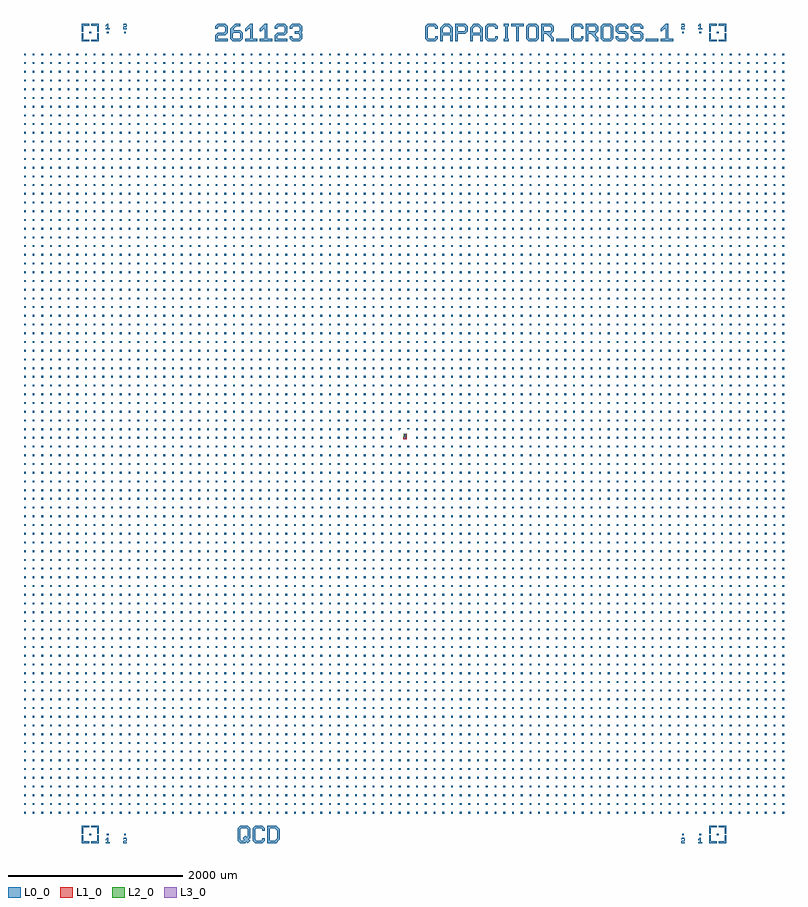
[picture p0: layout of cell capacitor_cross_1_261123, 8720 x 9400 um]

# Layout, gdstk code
import gdstk
lib = gdstk.Library(unit=1e-6, precision=1e-09)
def R(c, l, rs):  # rectangles x0, y0, x1, y1
    for r in rs: c.add(gdstk.rectangle(r[:2], r[2:], *l))
def A(c, l, x, y, w, h, nx, ny, dx, dy):  # array of equal rectangles
    R(c, l, [(x+i*dx, y+j*dy, x+i*dx+w, y+j*dy+h) for i in range(nx) for j in range(ny)])
def P(c, l, *ps):  # polygons
    for p in ps: c.add(gdstk.Polygon(p, *l))
L0_0 = (0, 0)
L1_0 = (1, 0)
L2_0 = (2, 0)
L3_0 = (3, 0)

capacitor_cross_1_261123 = lib.new_cell('capacitor_cross_1_261123')
A(capacitor_cross_1_261123, L0_0, -3610, -4610, 20, 20, 3, 2, 200, 9200)
A(capacitor_cross_1_261123, L0_0, 3190, -4610, 20, 20, 3, 2, 200, 9200)
A(capacitor_cross_1_261123, L0_0, -4360, -4360, 20, 20, 88, 43, 100, 100)
A(capacitor_cross_1_261123, L0_0, -4360, -60, 20, 20, 43, 2, 100, 100)
A(capacitor_cross_1_261123, L0_0, 140, -60, 20, 20, 43, 2, 100, 100)
A(capacitor_cross_1_261123, L0_0, -4360, 140, 20, 20, 88, 43, 100, 100)
R(capacitor_cross_1_261123, L0_0, [(40,50,60,60), (1745.238,4500,1888.095,4528.571), (2773.808,4500,2916.665,4528.571)])
P(capacitor_cross_1_261123, L0_0, [(2088.095,4500),(2088.095,4700),(2202.381,4700),(2230.952,4671.428),(2116.666,4671.428),(2116.666,4614.286),(2188.095,4614.286),(2202.381,4628.571),(2202.381,4657.143),(2188.095,4671.428),(2230.952,4671.428),(2230.952,4614.286),(2202.381,4585.714),(2202.381,4571.429),(2230.952,4542.857),(2230.952,4500),(2202.381,4500),(2202.381,4528.571),(2145.238,4585.714),(2116.666,4585.714),(2116.666,4500)],
  [(3610,4500),(3610,4520),(3680,4520),(3680,4590),(3700,4590),(3700,4500)],
  [(3680,4610),(3680,4680),(3610,4680),(3610,4700),(3700,4700),(3700,4610)],
  [(3500,4610),(3500,4700),(3590,4700),(3590,4680),(3520,4680),(3520,4610)],
  [(3500,4500),(3500,4590),(3520,4590),(3520,4520),(3590,4520),(3590,4500)],
  [(3378.572,4640),(3378.572,4648.571),(3395.715,4648.571),(3395.715,4682.857),(3391.429,4682.857),(3382.858,4674.286),(3378.572,4674.286),(3378.572,4682.857),(3395.715,4700),(3404.286,4700),(3404.286,4648.571),(3421.429,4648.571),(3421.429,4640)],
  [(2630.951,4500),(2602.38,4528.571),(2602.38,4557.143),(2630.951,4557.143),(2630.951,4542.857),(2645.237,4528.571),(2702.38,4528.571),(2716.666,4542.857),(2716.666,4571.429),(2702.38,4585.714),(2630.951,4585.714),(2602.38,4614.286),(2602.38,4671.428),(2630.951,4700),(2716.666,4700),(2745.237,4671.428),(2745.237,4642.857),(2716.666,4642.857),(2716.666,4657.143),(2702.38,4671.428),(2645.237,4671.428),(2630.951,4657.143),(2630.951,4628.571),(2645.237,4614.286),(2716.666,4614.286),(2745.237,4585.714),(2745.237,4528.571),(2716.666,4500)],
  [(2945.237,4500),(2945.237,4528.571),(3002.38,4528.571),(3002.38,4642.857),(2988.094,4642.857),(2959.523,4614.286),(2945.237,4614.286),(2945.237,4642.857),(3002.38,4700),(3030.951,4700),(3030.951,4528.571),(3088.094,4528.571),(3088.094,4500)],
  [(3178.572,4640),(3178.572,4661.429),(3187.143,4670),(3208.572,4670),(3212.858,4674.286),(3212.858,4687.143),(3208.572,4691.429),(3191.429,4691.429),(3187.143,4687.143),(3187.143,4682.857),(3178.572,4682.857),(3178.572,4691.429),(3187.143,4700),(3212.858,4700),(3221.429,4691.429),(3221.429,4670),(3212.858,4661.429),(3191.429,4661.429),(3187.143,4657.143),(3187.143,4648.571),(3221.429,4648.571),(3221.429,4640)],
  [(2288.094,4500),(2259.523,4528.571),(2259.523,4671.428),(2288.094,4700),(2373.809,4700),(2402.38,4671.428),(2402.38,4600),(2373.809,4600),(2373.809,4657.143),(2359.523,4671.428),(2302.38,4671.428),(2288.094,4657.143),(2288.094,4542.857),(2302.38,4528.571),(2359.523,4528.571),(2373.809,4542.857),(2373.809,4600),(2402.38,4600),(2402.38,4528.571),(2373.809,4500)],
  [(2459.523,4500),(2430.952,4528.571),(2430.952,4557.143),(2459.523,4557.143),(2459.523,4542.857),(2473.809,4528.571),(2530.952,4528.571),(2545.238,4542.857),(2545.238,4571.429),(2530.952,4585.714),(2459.523,4585.714),(2430.952,4614.286),(2430.952,4671.428),(2459.523,4700),(2545.238,4700),(2573.809,4671.428),(2573.809,4642.857),(2545.238,4642.857),(2545.238,4657.143),(2530.952,4671.428),(2473.809,4671.428),(2459.523,4657.143),(2459.523,4628.571),(2473.809,4614.286),(2545.238,4614.286),(2573.809,4585.714),(2573.809,4528.571),(2545.238,4500)],
  [(1573.81,4500),(1573.81,4700),(1688.096,4700),(1716.667,4671.428),(1602.381,4671.428),(1602.381,4614.286),(1673.81,4614.286),(1688.096,4628.571),(1688.096,4657.143),(1673.81,4671.428),(1716.667,4671.428),(1716.667,4614.286),(1688.096,4585.714),(1688.096,4571.429),(1716.667,4542.857),(1716.667,4500),(1688.096,4500),(1688.096,4528.571),(1630.953,4585.714),(1602.381,4585.714),(1602.381,4500)],
  [(1945.237,4500),(1916.666,4528.571),(1916.666,4671.428),(1945.237,4700),(2030.952,4700),(2059.523,4671.428),(2059.523,4642.857),(2030.952,4642.857),(2030.952,4657.143),(2016.666,4671.428),(1959.523,4671.428),(1945.237,4657.143),(1945.237,4542.857),(1959.523,4528.571),(2016.666,4528.571),(2030.952,4542.857),(2030.952,4557.143),(2059.523,4557.143),(2059.523,4528.571),(2030.952,4500)],
  [(1145.238,4500),(1145.238,4528.571),(1159.524,4528.571),(1159.524,4671.428),(1145.238,4671.428),(1145.238,4700),(1202.381,4700),(1202.381,4671.428),(1188.095,4671.428),(1188.095,4528.571),(1202.381,4528.571),(1202.381,4500)],
  [(1288.096,4500),(1288.096,4671.428),(1230.953,4671.428),(1230.953,4700),(1373.81,4700),(1373.81,4671.428),(1316.667,4671.428),(1316.667,4500)],
  [(1430.952,4500),(1402.381,4528.571),(1402.381,4671.428),(1430.952,4700),(1516.667,4700),(1545.238,4671.428),(1545.238,4600),(1516.667,4600),(1516.667,4657.143),(1502.381,4671.428),(1445.238,4671.428),(1430.952,4657.143),(1430.952,4542.857),(1445.238,4528.571),(1502.381,4528.571),(1516.667,4542.857),(1516.667,4600),(1545.238,4600),(1545.238,4528.571),(1516.667,4500)],
  [(416.668,4500),(416.668,4657.143),(459.525,4700),(516.668,4700),(545.239,4671.428),(473.811,4671.428),(445.239,4642.857),(445.239,4600),(530.954,4600),(530.954,4642.857),(502.382,4671.428),(545.239,4671.428),(559.525,4657.143),(559.525,4500),(530.954,4500),(530.954,4571.429),(445.239,4571.429),(445.239,4500)],
  [(959.524,4500),(930.953,4528.571),(930.953,4671.428),(959.524,4700),(1045.239,4700),(1073.81,4671.428),(1073.81,4642.857),(1045.239,4642.857),(1045.239,4657.143),(1030.953,4671.428),(973.81,4671.428),(959.524,4657.143),(959.524,4542.857),(973.81,4528.571),(1030.953,4528.571),(1045.239,4542.857),(1045.239,4557.143),(1073.81,4557.143),(1073.81,4528.571),(1045.239,4500)],
  [(588.096,4500),(588.096,4700),(702.382,4700),(730.953,4671.428),(730.953,4614.286),(702.382,4585.714),(616.667,4585.714),(616.667,4614.286),(688.096,4614.286),(702.382,4628.571),(702.382,4657.143),(688.096,4671.428),(616.667,4671.428),(616.667,4500)],
  [(759.525,4500),(759.525,4657.143),(802.382,4700),(859.525,4700),(888.096,4671.428),(816.668,4671.428),(788.096,4642.857),(788.096,4600),(873.811,4600),(873.811,4642.857),(845.239,4671.428),(888.096,4671.428),(902.382,4657.143),(902.382,4500),(873.811,4500),(873.811,4571.429),(788.096,4571.429),(788.096,4500)],
  [(273.81,4500),(245.239,4528.571),(245.239,4671.428),(273.81,4700),(359.525,4700),(388.096,4671.428),(388.096,4642.857),(359.525,4642.857),(359.525,4657.143),(345.239,4671.428),(288.096,4671.428),(273.81,4657.143),(273.81,4542.857),(288.096,4528.571),(345.239,4528.571),(359.525,4542.857),(359.525,4557.143),(388.096,4557.143),(388.096,4528.571),(359.525,4500)],
  [(-1652.381,4500),(-1652.381,4528.571),(-1595.238,4528.571),(-1595.238,4642.857),(-1609.524,4642.857),(-1638.095,4614.286),(-1652.381,4614.286),(-1652.381,4642.857),(-1595.238,4700),(-1566.667,4700),(-1566.667,4528.571),(-1509.524,4528.571),(-1509.524,4500)],
  [(-1480.953,4500),(-1480.953,4571.429),(-1452.382,4600),(-1380.953,4600),(-1366.667,4614.286),(-1366.667,4657.143),(-1380.953,4671.428),(-1438.096,4671.428),(-1452.382,4657.143),(-1452.382,4642.857),(-1480.953,4642.857),(-1480.953,4671.428),(-1452.382,4700),(-1366.667,4700),(-1338.096,4671.428),(-1338.096,4600),(-1366.667,4571.429),(-1438.096,4571.429),(-1452.382,4557.143),(-1452.382,4528.571),(-1338.096,4528.571),(-1338.096,4500)],
  [(-1280.953,4500),(-1309.524,4528.571),(-1309.524,4557.143),(-1280.953,4557.143),(-1280.953,4542.857),(-1266.667,4528.571),(-1209.524,4528.571),(-1195.238,4542.857),(-1195.238,4571.429),(-1209.524,4585.714),(-1252.381,4585.714),(-1252.381,4614.286),(-1209.524,4614.286),(-1195.238,4628.571),(-1195.238,4657.143),(-1209.524,4671.428),(-1266.667,4671.428),(-1280.953,4657.143),(-1280.953,4642.857),(-1309.524,4642.857),(-1309.524,4671.428),(-1280.953,4700),(-1195.238,4700),(-1166.667,4671.428),(-1166.667,4614.286),(-1180.953,4600),(-1166.667,4585.714),(-1166.667,4528.571),(-1195.238,4500)],
  [(-2166.666,4500),(-2166.666,4571.429),(-2138.095,4600),(-2066.666,4600),(-2052.38,4614.286),(-2052.38,4657.143),(-2066.666,4671.428),(-2123.809,4671.428),(-2138.095,4657.143),(-2138.095,4642.857),(-2166.666,4642.857),(-2166.666,4671.428),(-2138.095,4700),(-2052.38,4700),(-2023.809,4671.428),(-2023.809,4600),(-2052.38,4571.429),(-2123.809,4571.429),(-2138.095,4557.143),(-2138.095,4528.571),(-2023.809,4528.571),(-2023.809,4500)],
  [(-1966.667,4500),(-1995.238,4528.571),(-1995.238,4642.857),(-1938.095,4700),(-1880.952,4700),(-1880.952,4671.428),(-1923.809,4671.428),(-1952.381,4642.857),(-1952.381,4628.571),(-1880.952,4628.571),(-1852.381,4600),(-1952.381,4600),(-1966.667,4585.714),(-1966.667,4542.857),(-1952.381,4528.571),(-1895.238,4528.571),(-1880.952,4542.857),(-1880.952,4585.714),(-1895.238,4600),(-1852.381,4600),(-1852.381,4528.571),(-1880.952,4500)],
  [(-1823.809,4500),(-1823.809,4528.571),(-1766.666,4528.571),(-1766.666,4642.857),(-1780.952,4642.857),(-1809.523,4614.286),(-1823.809,4614.286),(-1823.809,4642.857),(-1766.666,4700),(-1738.095,4700),(-1738.095,4528.571),(-1680.952,4528.571),(-1680.952,4500)],
  [(-3221.429,4640),(-3221.429,4661.429),(-3212.858,4670),(-3191.429,4670),(-3187.143,4674.286),(-3187.143,4687.143),(-3191.429,4691.429),(-3208.572,4691.429),(-3212.858,4687.143),(-3212.858,4682.857),(-3221.429,4682.857),(-3221.429,4691.429),(-3212.858,4700),(-3187.143,4700),(-3178.572,4691.429),(-3178.572,4670),(-3187.143,4661.429),(-3208.572,4661.429),(-3212.858,4657.143),(-3212.858,4648.571),(-3178.572,4648.571),(-3178.572,4640)],
  [(-3590,4500),(-3590,4520),(-3520,4520),(-3520,4590),(-3500,4590),(-3500,4500)],
  [(-3700,4500),(-3700,4590),(-3680,4590),(-3680,4520),(-3610,4520),(-3610,4500)],
  [(-3520,4610),(-3520,4680),(-3590,4680),(-3590,4700),(-3500,4700),(-3500,4610)],
  [(-3700,4610),(-3700,4700),(-3610,4700),(-3610,4680),(-3680,4680),(-3680,4610)],
  [(-3421.429,4640),(-3421.429,4648.571),(-3404.286,4648.571),(-3404.286,4682.857),(-3408.572,4682.857),(-3417.143,4674.286),(-3421.429,4674.286),(-3421.429,4682.857),(-3404.286,4700),(-3395.715,4700),(-3395.715,4648.571),(-3378.572,4648.571),(-3378.572,4640)],
  [(-60,40),(-60,60),(-40,60),(-40,50),(-55.5,50),(-55.5,40)],
  [(-3421.429,-4700),(-3421.429,-4691.429),(-3404.286,-4691.429),(-3404.286,-4657.143),(-3408.572,-4657.143),(-3417.143,-4665.714),(-3421.429,-4665.714),(-3421.429,-4657.143),(-3404.286,-4640),(-3395.715,-4640),(-3395.715,-4691.429),(-3378.572,-4691.429),(-3378.572,-4700)],
  [(-3700,-4700),(-3700,-4610),(-3680,-4610),(-3680,-4680),(-3610,-4680),(-3610,-4700)],
  [(-3590,-4700),(-3590,-4680),(-3520,-4680),(-3520,-4610),(-3500,-4610),(-3500,-4700)],
  [(-3700,-4590),(-3700,-4500),(-3610,-4500),(-3610,-4520),(-3680,-4520),(-3680,-4590)],
  [(-3520,-4590),(-3520,-4520),(-3590,-4520),(-3590,-4500),(-3500,-4500),(-3500,-4590)],
  [(-3221.429,-4700),(-3221.429,-4678.571),(-3212.858,-4670),(-3191.429,-4670),(-3187.143,-4665.714),(-3187.143,-4652.857),(-3191.429,-4648.571),(-3208.572,-4648.571),(-3212.858,-4652.857),(-3212.858,-4657.143),(-3221.429,-4657.143),(-3221.429,-4648.571),(-3212.858,-4640),(-3187.143,-4640),(-3178.572,-4648.571),(-3178.572,-4670),(-3187.143,-4678.571),(-3208.572,-4678.571),(-3212.858,-4682.857),(-3212.858,-4691.429),(-3178.572,-4691.429),(-3178.572,-4700)],
  [(-1709.524,-4700),(-1738.095,-4671.429),(-1738.095,-4528.572),(-1709.524,-4500),(-1623.809,-4500),(-1595.238,-4528.572),(-1595.238,-4557.143),(-1623.809,-4557.143),(-1623.809,-4542.857),(-1638.095,-4528.572),(-1695.238,-4528.572),(-1709.524,-4542.857),(-1709.524,-4657.143),(-1695.238,-4671.429),(-1638.095,-4671.429),(-1623.809,-4657.143),(-1623.809,-4642.857),(-1595.238,-4642.857),(-1595.238,-4671.429),(-1623.809,-4700)],
  [(-1880.953,-4700),(-1909.524,-4671.429),(-1909.524,-4528.572),(-1880.953,-4500),(-1795.238,-4500),(-1766.667,-4528.572),(-1866.667,-4528.572),(-1880.953,-4542.857),(-1880.953,-4657.143),(-1866.667,-4671.429),(-1838.095,-4671.429),(-1838.095,-4657.143),(-1852.381,-4642.857),(-1823.81,-4614.286),(-1809.524,-4628.571),(-1795.238,-4628.571),(-1795.238,-4542.857),(-1809.524,-4528.572),(-1766.667,-4528.572),(-1766.667,-4642.857),(-1780.953,-4657.143),(-1766.667,-4671.429),(-1795.238,-4700),(-1809.524,-4685.714),(-1823.81,-4700)],
  [(-1566.667,-4700),(-1566.667,-4500),(-1466.667,-4500),(-1438.096,-4528.572),(-1538.096,-4528.572),(-1538.096,-4671.429),(-1480.953,-4671.429),(-1452.381,-4642.857),(-1452.381,-4557.143),(-1480.953,-4528.572),(-1438.096,-4528.572),(-1423.81,-4542.857),(-1423.81,-4657.143),(-1466.667,-4700)],
  [(3178.572,-4700),(3178.572,-4678.571),(3187.143,-4670),(3208.572,-4670),(3212.858,-4665.714),(3212.858,-4652.857),(3208.572,-4648.571),(3191.429,-4648.571),(3187.143,-4652.857),(3187.143,-4657.143),(3178.572,-4657.143),(3178.572,-4648.571),(3187.143,-4640),(3212.858,-4640),(3221.429,-4648.571),(3221.429,-4670),(3212.858,-4678.571),(3191.429,-4678.571),(3187.143,-4682.857),(3187.143,-4691.429),(3221.429,-4691.429),(3221.429,-4700)],
  [(3378.572,-4700),(3378.572,-4691.429),(3395.715,-4691.429),(3395.715,-4657.143),(3391.429,-4657.143),(3382.858,-4665.714),(3378.572,-4665.714),(3378.572,-4657.143),(3395.715,-4640),(3404.286,-4640),(3404.286,-4691.429),(3421.429,-4691.429),(3421.429,-4700)],
  [(3610,-4700),(3610,-4680),(3680,-4680),(3680,-4610),(3700,-4610),(3700,-4700)],
  [(3680,-4590),(3680,-4520),(3610,-4520),(3610,-4500),(3700,-4500),(3700,-4590)],
  [(3500,-4700),(3500,-4610),(3520,-4610),(3520,-4680),(3590,-4680),(3590,-4700)],
  [(3500,-4590),(3500,-4500),(3590,-4500),(3590,-4520),(3520,-4520),(3520,-4590)])
P(capacitor_cross_1_261123, L1_0, [(-5.5,-30),(-5.5,0),(-2.5,0),(-2.5,-20),(22.5,-20),(22.5,-10),(2.5,-10),(2.5,0),(32.5,0),(32.5,-30)],
  [(-11,-65),(-11,-35),(32.5,-35),(32.5,-65),(5,-65),(5,-55),(22.5,-55),(22.5,-45),(-5,-45),(-5,-65)])
R(capacitor_cross_1_261123, L2_0, [(-2.5,-45,27.5,0)])
R(capacitor_cross_1_261123, L3_0, [(7.5,-60,17.5,-35), (7.5,-30,17.5,-5)])
P(capacitor_cross_1_261123, L3_0, [(12.5,-35),(12.5,-30),(12.5,-30),(12.5,-35)])

lib.write_gds('capacitor_cross_1_261123.gds')
